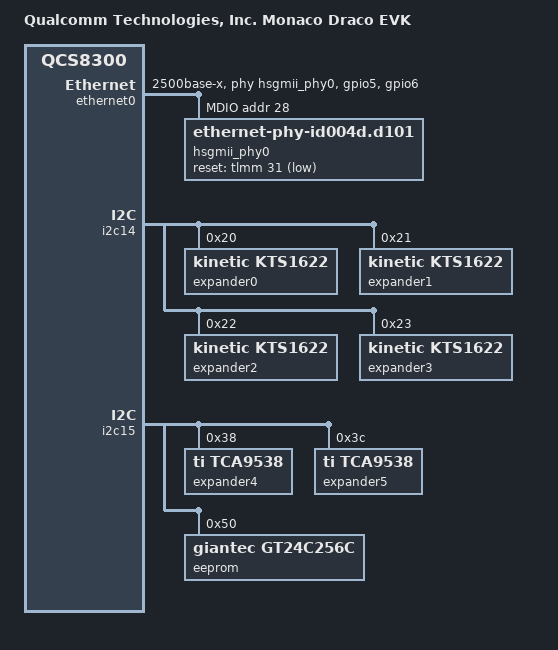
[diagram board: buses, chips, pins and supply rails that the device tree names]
// SPDX-License-Identifier: BSD-3-Clause
/*
 * Copyright (c) Qualcomm Technologies, Inc. and/or its subsidiaries.
 */

/dts-v1/;

#include "monaco-draco-ac-evk-som.dtsi"

/ {
	model = "Qualcomm Technologies, Inc. Monaco Draco EVK";
	compatible = "qcom,monaco-draco-evk", "qcom,qcs8300";
	chassis-type = "embedded";
	aliases {
		ethernet0 = &ethernet0;
	};
};

&ethernet0 {
	phy-handle = <&hsgmii_phy0>;
	phy-mode = "2500base-x";

	pinctrl-0 = <&ethernet0_default>;
	pinctrl-names = "default";

	snps,mtl-rx-config = <&mtl_rx_setup>;
	snps,mtl-tx-config = <&mtl_tx_setup>;

	nvmem-cells = <&mac_addr0>;
	nvmem-cell-names = "mac-address";

	status = "okay";

	mdio {
		compatible = "snps,dwmac-mdio";
		#address-cells = <1>;
		#size-cells = <0>;

		hsgmii_phy0: ethernet-phy {
			compatible = "ethernet-phy-id004d.d101";
			reg = <0x1c>;
			reset-gpios = <&tlmm 31 GPIO_ACTIVE_LOW>;
			reset-assert-us = <11000>;
			reset-deassert-us = <70000>;
		};
	};

	mtl_rx_setup: rx-queues-config {
		snps,rx-queues-to-use = <4>;
		snps,rx-sched-sp;

		queue0 {
			snps,dcb-algorithm;
			snps,map-to-dma-channel = <0x0>;
			snps,route-up;
			snps,priority = <0x1>;
		};

		queue1 {
			snps,dcb-algorithm;
			snps,map-to-dma-channel = <0x1>;
			snps,route-ptp;
		};

		queue2 {
			snps,avb-algorithm;
			snps,map-to-dma-channel = <0x2>;
			snps,route-avcp;
		};

		queue3 {
			snps,avb-algorithm;
			snps,map-to-dma-channel = <0x3>;
			snps,priority = <0xc>;
		};
	};

	mtl_tx_setup: tx-queues-config {
		snps,tx-queues-to-use = <4>;

		queue0 {
			snps,dcb-algorithm;
		};

		queue1 {
			snps,dcb-algorithm;
		};

		queue2 {
			snps,avb-algorithm;
			snps,send_slope = <0x1000>;
			snps,idle_slope = <0x1000>;
			snps,high_credit = <0x3e800>;
			snps,low_credit = <0xffc18000>;
		};

		queue3 {
			snps,avb-algorithm;
			snps,send_slope = <0x1000>;
			snps,idle_slope = <0x1000>;
			snps,high_credit = <0x3e800>;
			snps,low_credit = <0xffc18000>;
		};
	};
};

&i2c14 {
	status = "okay";

	expander0: gpio@20 {
		compatible = "kinetic,kts1622", "ti,tcal6416";
		reg = <0x20>;
		#gpio-cells = <2>;
		gpio-controller;
	};

	expander1: gpio@21 {
		compatible = "kinetic,kts1622", "ti,tcal6416";
		reg = <0x21>;
		#gpio-cells = <2>;
		gpio-controller;
	};

	expander2: gpio@22 {
		compatible = "kinetic,kts1622", "ti,tcal6416";
		reg = <0x22>;
		#gpio-cells = <2>;
		gpio-controller;
	};

	expander3: gpio@23 {
		compatible = "kinetic,kts1622", "ti,tcal6416";
		reg = <0x23>;
		#gpio-cells = <2>;
		gpio-controller;
	};

};

&i2c15 {
	status = "okay";

	expander4: gpio@38 {
		compatible = "ti,tca9538";
		reg = <0x38>;
		#gpio-cells = <2>;
		gpio-controller;
	};

	expander5: gpio@3c {
		compatible = "ti,tca9538";
		reg = <0x3c>;
		#gpio-cells = <2>;
		gpio-controller;
	};

	eeprom@50{
		compatible = "giantec,gt24c256c", "atmel,24c256";
		reg = <0x50>;
		pagesize = <64>;

		nvmem-layout {
			compatible = "fixed-layout";
			#address-cells = <1>;
			#size-cells = <1>;

			mac_addr0: mac-addr@0 {
				reg = <0x0 0x6>;
			};
		};
	};
};

&tlmm {
	ethernet0_default: ethernet0-default-state {
		ethernet0_mdc: ethernet0-mdc-pins {
			pins = "gpio5";
			function = "emac0_mdc";
			drive-strength = <16>;
			bias-pull-up;
		};

		ethernet0_mdio: ethernet0-mdio-pins {
			pins = "gpio6";
			function = "emac0_mdio";
			drive-strength = <16>;
			bias-pull-up;
		};
	};
};
